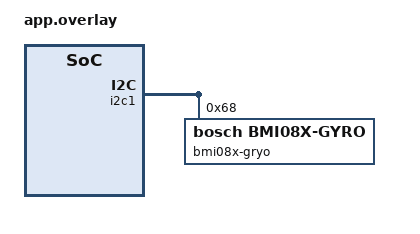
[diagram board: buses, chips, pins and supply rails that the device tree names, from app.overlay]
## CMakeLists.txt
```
cmake_minimum_required(VERSION 3.20.0)

find_package(Zephyr REQUIRED HINTS $ENV{ZEPHYR_BASE})

project("oresat-adcs" LANGUAGES C)

execute_process(COMMAND bash -c "oresat-configs canopennode od.yaml ../../common/od.yaml -d gen")

target_sources(app PRIVATE
  src/main.c
  src/imu.c
  gen/OD.c
)

zephyr_include_directories(gen)
```

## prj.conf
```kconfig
CONFIG_GPIO=y
CONFIG_I2C=y
CONFIG_SENSOR=y
CONFIG_CAN=y
CONFIG_CAN_DEFAULT_BITRATE=1000000
CONFIG_CANOPENNODE_V4=y
CONFIG_CANOPENNODE_THREADS=y
CONFIG_REBOOT=y
CONFIG_STM32_VREF=y
CONFIG_STM32_TEMP=y
CONFIG_BMI08X=y
CONFIG_BMI08X_GYRO_TRIGGER_NONE=y
```

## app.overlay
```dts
&i2c1 {
	status = "okay";

	bmi08x-gryo@68 {
		status = "okay";
		compatible = "bosch,bmi08x-gyro";
		reg = <0x68>;
		gyro-hz = "100_32";
		gyro-fs = <1000>;
	};
};
```

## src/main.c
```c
#include <zephyr/kernel.h>
#include <zephyr/device.h>
#include <zephyr/sys/reboot.h>
#include <canopennode.h>
#include <OD.h>
#include "board_sensors.h"
#include "oresat.h"
#include "imu.h"

#define CAN_INTERFACE DEVICE_DT_GET(DT_CHOSEN(zephyr_canbus))
#define CAN_BITRATE                                                                                \
	(DT_PROP_OR(DT_CHOSEN(zephyr_canbus), bitrate,                                             \
		    DT_PROP_OR(DT_CHOSEN(zephyr_canbus), bus_speed, CONFIG_CAN_DEFAULT_BITRATE)) / \
	 1000)

int main(void)
{
	k_timepoint_t timepoint;
	uint8_t node_id = oresat_get_node_id();
	oresat_fix_cob_ids_in_od(node_id);

	canopennode_init(CAN_INTERFACE, CAN_BITRATE, node_id);
	board_sensors_init();
	imu_init();

	while (canopennode_is_running()) {
		timepoint = sys_timepoint_calc(K_MSEC(1000));
		board_sensors_fill_od();
		imu_fill_od();
		k_sleep(sys_timepoint_timeout(timepoint));
	}

	canopennode_stop(CAN_INTERFACE);
	sys_reboot(SYS_REBOOT_COLD);

	return 0;
}
```

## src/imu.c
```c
#include <zephyr/kernel.h>
#include <zephyr/device.h>
#include <zephyr/drivers/sensor.h>
#include <canopennode.h>
#include <OD.h>
#include "oresat.h"

static const struct device *const dev_gyro = DEVICE_DT_GET_ONE(bosch_bmi08x_gyro);
static bool gyro_ok = false;

void imu_init(void)
{
	struct sensor_value full_scale;
	struct sensor_value sampling_freq;
	struct sensor_value oversampling;

	gyro_ok = device_is_ready(dev_gyro);
	if (!gyro_ok) {
		printf("Device %s is not ready\n", dev_gyro->name);
	} else {
		/* Setting scale in degrees/s to match the sensor scale */
		full_scale.val1 = 500; /* dps */
		full_scale.val2 = 0;
		sampling_freq.val1 = 100; /* Hz. Performance mode */
		sampling_freq.val2 = 0;
		oversampling.val1 = 1; /* Normal mode */
		oversampling.val2 = 0;

		sensor_attr_set(dev_gyro, SENSOR_CHAN_GYRO_XYZ, SENSOR_ATTR_FULL_SCALE,
				&full_scale);
		sensor_attr_set(dev_gyro, SENSOR_CHAN_GYRO_XYZ, SENSOR_ATTR_OVERSAMPLING,
				&oversampling);
		sensor_attr_set(dev_gyro, SENSOR_CHAN_GYRO_XYZ, SENSOR_ATTR_SAMPLING_FREQUENCY,
				&sampling_freq);
	}
}

void imu_fill_od(void)
{
	struct sensor_value gyr[3];
	if (gyro_ok) {
		sensor_sample_fetch(dev_gyro);
		sensor_channel_get(dev_gyro, SENSOR_CHAN_GYRO_XYZ, gyr);

		CO_LOCK_OD(CO->CANmodule);
		OD_RAM.x4000_gyroscope.pitch_rate = sensor_value_to_milli(&gyr[0]);
		OD_RAM.x4000_gyroscope.yaw_rate = sensor_value_to_milli(&gyr[1]);
		OD_RAM.x4000_gyroscope.roll_rate = sensor_value_to_milli(&gyr[2]);
		CO_UNLOCK_OD(CO->CANmodule);

		printf("GX: %d.%06d; GY: %d.%06d; GZ: %d.%06d;\n", gyr[0].val1, gyr[0].val2,
		       gyr[1].val1, gyr[1].val2, gyr[2].val1, gyr[2].val2);
	}
}
```

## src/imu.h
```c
#ifndef IMU_H
#define IMU_H

void imu_init(void);
void imu_fill_od(void);

#endif
```
